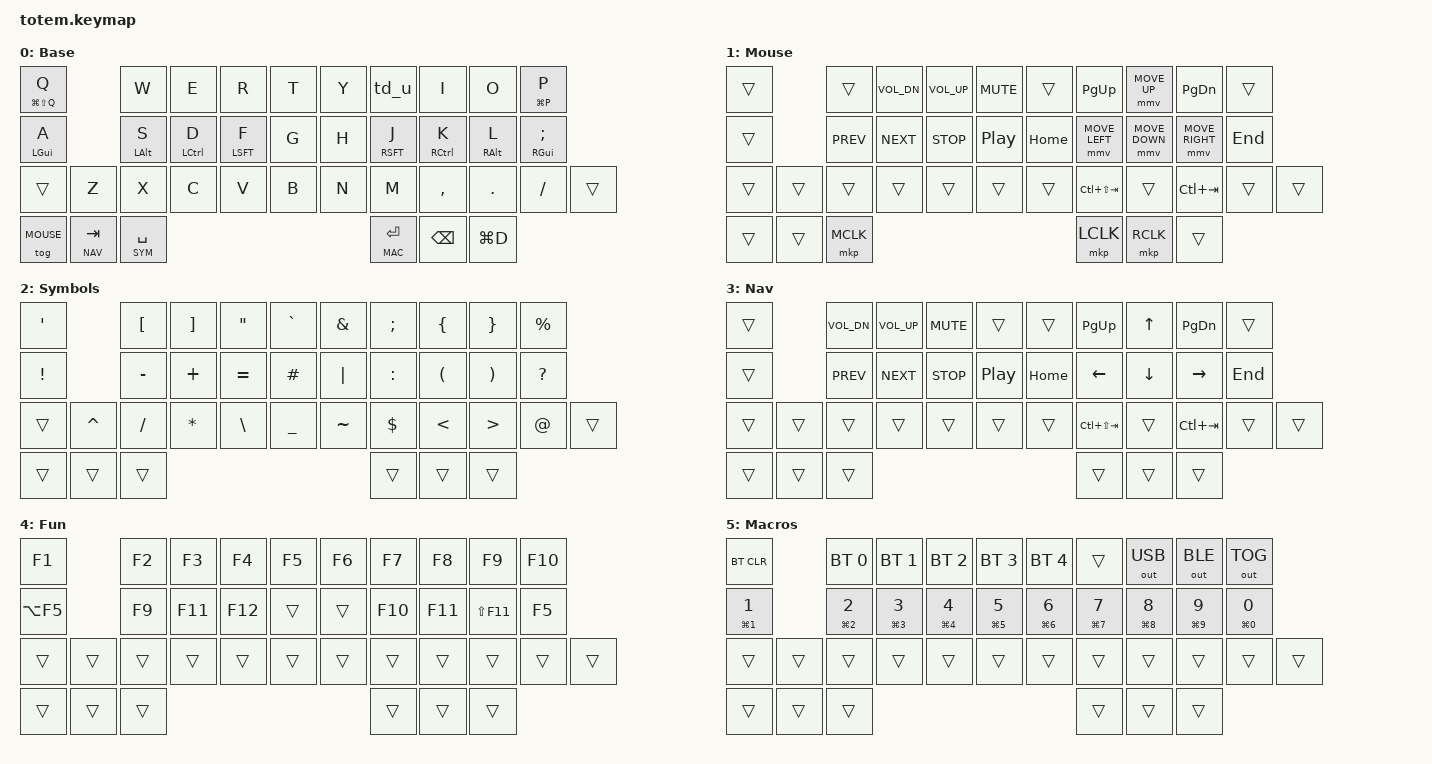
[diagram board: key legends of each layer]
#include <behaviors.dtsi>
#include <dt-bindings/zmk/keys.h>
#include <dt-bindings/zmk/bt.h>
#include <dt-bindings/zmk/outputs.h>
#include <dt-bindings/zmk/ext_power.h>
#include <dt-bindings/zmk/pointing.h>
#include <input/processors.dtsi>
#include <input/processors/scaler.dtsi>

#define BASE  0
#define MOUSE 1
#define SYM   2
#define NAV   3
#define FUN   4
#define MAC   5

// 18 left positions (top + home + bottom + 3 thumbs), 18 right.
// Positions 20 and 31 are the keymap-array "outer" slots that have no physical
// key in the 36-key Totemist matrix; they hold filler &trans bindings.
#define KEYS_L 0 1 2 3 4   10 11 12 13 14   21 22 23 24 25   32 33 34
#define KEYS_R 5 6 7 8 9   15 16 17 18 19   26 27 28 29 30   35 36 37
#define THUMBS 32 33 34 35 36 37

&mmv {
    time-to-max-speed-ms = <500>;
    acceleration-exponent = <1>;
    delay-ms = <0>;
};

&mmv_input_listener { input-processors = <&zip_xy_scaler 4 1>; };

/ {
    behaviors {
        hml: home_row_mod_left {
            compatible = "zmk,behavior-hold-tap";
            #binding-cells = <2>;
            flavor = "balanced";
            tapping-term-ms = <280>;
            quick-tap-ms = <175>;
            require-prior-idle-ms = <150>;
            hold-trigger-key-positions = <KEYS_R THUMBS>;
            hold-trigger-on-release;
            bindings = <&kp>, <&kp>;
        };

        hmr: home_row_mod_right {
            compatible = "zmk,behavior-hold-tap";
            #binding-cells = <2>;
            flavor = "balanced";
            tapping-term-ms = <280>;
            quick-tap-ms = <175>;
            require-prior-idle-ms = <150>;
            hold-trigger-key-positions = <KEYS_L THUMBS>;
            hold-trigger-on-release;
            bindings = <&kp>, <&kp>;
        };

        qp_ht: qp_hold_tap {
            compatible = "zmk,behavior-hold-tap";
            #binding-cells = <2>;
            flavor = "tap-preferred";
            tapping-term-ms = <250>;
            quick-tap-ms = <150>;
            bindings = <&kp>, <&kp>;
        };

        td_u: tap_dance_u {
            compatible = "zmk,behavior-tap-dance";
            #binding-cells = <0>;
            tapping-term-ms = <200>;
            bindings = <&kp U>, <&kp LC(Z)>;
        };

        ws_ht: workspace_hold_tap {
            compatible = "zmk,behavior-hold-tap";
            #binding-cells = <2>;
            flavor = "hold-preferred";
            tapping-term-ms = <200>;
            bindings = <&kp>, <&kp>;
        };
    };

    combos {
        compatible = "zmk,combos";
        combo_esc {
            timeout-ms = <75>;
            key-positions = <14 15>;
            bindings = <&kp ESC>;
        };
        combo_lock {
            timeout-ms = <75>;
            key-positions = <0 1>;
            bindings = <&kp LG(LS(ESC))>;
        };
    };

    keymap {
        compatible = "zmk,keymap";

        base_layer {
            display-name = "Base";
            bindings = <
   &qp_ht LG(LS(Q)) Q  &kp W       &kp E       &kp R       &kp T            &kp Y      &td_u        &kp I        &kp O        &qp_ht LG(P) P
   &hml LGUI A         &hml LALT S &hml LCTL D &hml LSFT F &kp G            &kp H      &hmr RSFT J  &hmr RCTL K  &hmr RALT L  &hmr RGUI SEMI
   &trans  &kp Z       &kp X       &kp C       &kp V       &kp B            &kp N      &kp M        &kp COMMA    &kp DOT      &kp FSLH    &trans
   &tog MOUSE  &lt NAV TAB         &lt SYM SPACE                            &lt MAC ENTER           &kp BSPC     &kp LG(D)
            >;
        };

        mouse_layer {
            display-name = "Mouse";
            bindings = <
   &trans  &trans         &kp C_VOL_DN   &kp C_VOL_UP  &kp C_MUTE       &trans     &kp PG_UP       &mmv MOVE_UP    &kp PG_DN       &trans
   &trans  &kp C_PREV     &kp C_NEXT     &kp C_STOP    &kp C_PP         &kp HOME   &mmv MOVE_LEFT  &mmv MOVE_DOWN  &mmv MOVE_RIGHT &kp END
   &trans  &trans         &trans         &trans        &trans &trans   &trans     &kp LC(LS(TAB)) &trans          &kp LC(TAB)     &trans       &trans
   &trans                 &trans         &mkp MCLK                     &mkp LCLK                  &mkp RCLK       &trans
            >;
        };

        sym_layer {
            display-name = "Symbols";
            bindings = <
   &kp SQT   &kp LBKT  &kp RBKT  &kp DQT   &kp GRAVE      &kp AMPS  &kp SEMI  &kp LBRC  &kp RBRC  &kp PRCNT
   &kp EXCL  &kp MINUS &kp PLUS  &kp EQUAL &kp HASH       &kp PIPE  &kp COLON &kp LPAR  &kp RPAR  &kp QMARK
   &trans   &kp CARET &kp FSLH  &kp STAR  &kp BSLH  &kp UNDER       &kp TILDE &kp DLLR  &kp LT    &kp GT    &kp AT   &trans
   &trans                                 &trans    &trans          &trans    &trans                                  &trans
            >;
        };

        nav_layer {
            display-name = "Nav";
            bindings = <
   &trans  &kp C_VOL_DN   &kp C_VOL_UP   &kp C_MUTE    &trans           &trans     &kp PG_UP        &kp UP         &kp PG_DN       &trans
   &trans  &kp C_PREV     &kp C_NEXT     &kp C_STOP    &kp C_PP         &kp HOME   &kp LEFT         &kp DOWN       &kp RIGHT       &kp END
   &trans  &trans         &trans         &trans        &trans &trans   &trans     &kp LC(LS(TAB))  &trans         &kp LC(TAB)     &trans       &trans
   &trans                 &trans         &trans                         &trans                     &trans         &trans
            >;
        };

        fun_layer {
            display-name = "Fun";
            bindings = <
   &kp F1    &kp F2    &kp F3    &kp F4    &kp F5         &kp F6    &kp F7    &kp F8    &kp F9       &kp F10
   &kp LA(F5) &kp F9   &kp F11   &kp F12   &trans         &trans    &kp F10   &kp F11   &kp LS(F11)  &kp F5
   &trans   &trans    &trans    &trans    &trans    &trans          &trans    &trans    &trans    &trans    &trans   &trans
   &trans                       &trans    &trans         &trans    &trans                                  &trans
            >;
        };

        mac_layer {
            display-name = "Macros";
            bindings = <
   &bt BT_CLR           &bt BT_SEL 0      &bt BT_SEL 1      &bt BT_SEL 2      &bt BT_SEL 3            &bt BT_SEL 4      &trans            &out OUT_USB      &out OUT_BLE      &out OUT_TOG
   &ws_ht LG(N1) N1     &ws_ht LG(N2) N2  &ws_ht LG(N3) N3  &ws_ht LG(N4) N4  &ws_ht LG(N5) N5        &ws_ht LG(N6) N6  &ws_ht LG(N7) N7  &ws_ht LG(N8) N8  &ws_ht LG(N9) N9  &ws_ht LG(N0) N0
   &trans  &trans       &trans            &trans            &trans            &trans                  &trans            &trans            &trans            &trans            &trans            &trans
   &trans               &trans            &trans                                                      &trans            &trans                                                                  &trans
            >;
        };
    };
};
